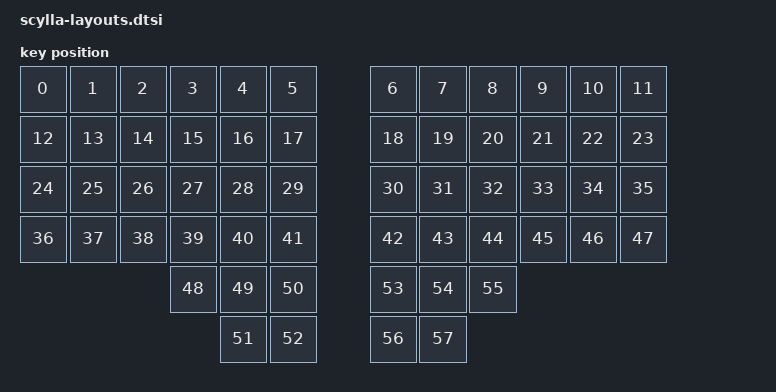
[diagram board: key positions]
#include <physical_layouts.dtsi>

/ {
    scylla_layout: scylla_layout {
        compatible = "zmk,physical-layout";
        display-name = "scylla";

        transform = <&scylla_transform>;

        keys  //                     w   h    x    y     rot    rx    ry
            = <&key_physical_attrs 100 100    0    0       0     0     0>
            , <&key_physical_attrs 100 100  100    0       0     0     0>
            , <&key_physical_attrs 100 100  200    0       0     0     0>
            , <&key_physical_attrs 100 100  300    0       0     0     0>
            , <&key_physical_attrs 100 100  400    0       0     0     0>
            , <&key_physical_attrs 100 100  500    0       0     0     0>
            , <&key_physical_attrs 100 100  700    0       0     0     0>
            , <&key_physical_attrs 100 100  800    0       0     0     0>
            , <&key_physical_attrs 100 100  900    0       0     0     0>
            , <&key_physical_attrs 100 100 1000    0       0     0     0>
            , <&key_physical_attrs 100 100 1100    0       0     0     0>
            , <&key_physical_attrs 100 100 1200    0       0     0     0>
            , <&key_physical_attrs 100 100    0  100       0     0     0>
            , <&key_physical_attrs 100 100  100  100       0     0     0>
            , <&key_physical_attrs 100 100  200  100       0     0     0>
            , <&key_physical_attrs 100 100  300  100       0     0     0>
            , <&key_physical_attrs 100 100  400  100       0     0     0>
            , <&key_physical_attrs 100 100  500  100       0     0     0>
            , <&key_physical_attrs 100 100  700  100       0     0     0>
            , <&key_physical_attrs 100 100  800  100       0     0     0>
            , <&key_physical_attrs 100 100  900  100       0     0     0>
            , <&key_physical_attrs 100 100 1000  100       0     0     0>
            , <&key_physical_attrs 100 100 1100  100       0     0     0>
            , <&key_physical_attrs 100 100 1200  100       0     0     0>
            , <&key_physical_attrs 100 100    0  200       0     0     0>
            , <&key_physical_attrs 100 100  100  200       0     0     0>
            , <&key_physical_attrs 100 100  200  200       0     0     0>
            , <&key_physical_attrs 100 100  300  200       0     0     0>
            , <&key_physical_attrs 100 100  400  200       0     0     0>
            , <&key_physical_attrs 100 100  500  200       0     0     0>
            , <&key_physical_attrs 100 100  700  200       0     0     0>
            , <&key_physical_attrs 100 100  800  200       0     0     0>
            , <&key_physical_attrs 100 100  900  200       0     0     0>
            , <&key_physical_attrs 100 100 1000  200       0     0     0>
            , <&key_physical_attrs 100 100 1100  200       0     0     0>
            , <&key_physical_attrs 100 100 1200  200       0     0     0>
            , <&key_physical_attrs 100 100    0  300       0     0     0>
            , <&key_physical_attrs 100 100  100  300       0     0     0>
            , <&key_physical_attrs 100 100  200  300       0     0     0>
            , <&key_physical_attrs 100 100  300  300       0     0     0>
            , <&key_physical_attrs 100 100  400  300       0     0     0>
            , <&key_physical_attrs 100 100  500  300       0     0     0>
            , <&key_physical_attrs 100 100  700  300       0     0     0>
            , <&key_physical_attrs 100 100  800  300       0     0     0>
            , <&key_physical_attrs 100 100  900  300       0     0     0>
            , <&key_physical_attrs 100 100 1000  300       0     0     0>
            , <&key_physical_attrs 100 100 1100  300       0     0     0>
            , <&key_physical_attrs 100 100 1200  300       0     0     0>
            , <&key_physical_attrs 100 100  300  400       0     0     0>
            , <&key_physical_attrs 100 100  400  400       0     0     0>
            , <&key_physical_attrs 100 100  500  400       0     0     0>
            , <&key_physical_attrs 100 100  400  500       0     0     0>
            , <&key_physical_attrs 100 100  500  500       0     0     0>
            , <&key_physical_attrs 100 100  700  400       0     0     0>
            , <&key_physical_attrs 100 100  800  400       0     0     0>
            , <&key_physical_attrs 100 100  900  400       0     0     0>
            , <&key_physical_attrs 100 100  700  500       0     0     0>
            , <&key_physical_attrs 100 100  800  500       0     0     0>
            ;

   };

    scylla_position_map {
        compatible = "zmk,physical-layout-position-map";
        complete;

        scylla_map:scylla {
            physical-layout = <&scylla_layout>;
            positions
                = < 0  1  2  3  4  5 6  7  8  9 10 11>
                , <12 13 14 15 16 17 18 19 20 21 22 23>
                , <24 25 26 27 28 29 30 31 32 33 34 35>
                , <36 37 38 39 40 41 42 43 44 45 46 47>
                , <         48 49 50 54 55 51>           
                , <            52 53 56 57>;

, <                         48 49 50 51 52 53>           
                , <            54 55 56 57>;
        };
    };
};
